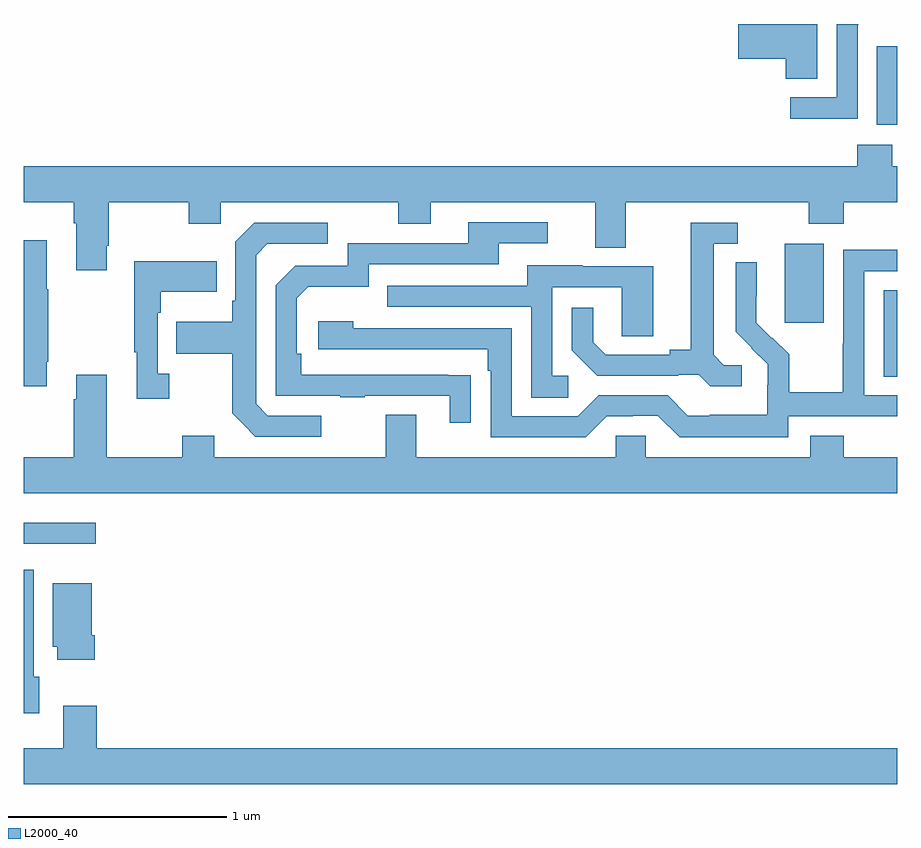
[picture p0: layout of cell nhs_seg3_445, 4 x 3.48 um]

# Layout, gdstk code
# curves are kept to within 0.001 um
import gdstk
lib = gdstk.Library(unit=1e-6, precision=1e-09)
def R(c, l, rs):  # rectangles x0, y0, x1, y1
    for r in rs: c.add(gdstk.rectangle(r[:2], r[2:], *l))
def P(c, l, *ps):  # polygons
    for p in ps: c.add(gdstk.Polygon(p, *l))
L2000_40 = (2000, 40)

nhs_seg3_445 = lib.new_cell('nhs_seg3_445')
R(nhs_seg3_445, L2000_40, [(133,698.019,133.33,698.116), (136.937,698.785,137,699.182), (136.484,699.033,136.663,699.394), (136.907,699.938,137,700.299)])
P(nhs_seg3_445, L2000_40, [(136.818,700.396),(136.821,700.396),(136.821,700.4),(136.722,700.4),(136.722,700.065),(136.509,700.065),(136.509,699.967),(136.818,699.967)],
  [(136.633,700.4),(136.272,700.4),(136.272,700.241),(136.49,700.241),(136.49,700.15),(136.633,700.15)],
  [(133.381,699.385),(133.389,699.385),(133.389,699.584),(133.756,699.584),(133.756,699.485),(133.902,699.485),(133.902,699.584),(134.716,699.584),(134.716,699.485),(134.863,699.485),(134.863,699.584),(135.617,699.584),(135.617,699.376),(135.757,699.376),(135.757,699.584),(136.594,699.584),(136.594,699.485),(136.754,699.485),(136.754,699.584),(137,699.584),(137,699.748),(136.977,699.748),(136.977,699.847),(136.817,699.847),(136.817,699.748),(133,699.748),(133,699.584),(133.229,699.584),(133.229,699.488),(133.241,699.488),(133.241,699.273),(133.381,699.273)],
  [(135.047,698.792),(134.27,698.793),(134.27,698.89),(134.25,698.89),(134.25,699.144),(134.303,699.197),(134.58,699.197),(134.58,699.3),(135.175,699.3),(135.175,699.396),(135.4,699.396),(135.4,699.492),(135.035,699.492),(135.035,699.396),(134.484,699.396),(134.484,699.294),(134.244,699.294),(134.154,699.204),(134.154,698.697),(134.449,698.697),(134.449,698.692),(134.561,698.692),(134.561,698.697),(134.951,698.697),(134.951,698.574),(135.047,698.574)],
  [(134.362,698.607),(134.118,698.607),(134.064,698.661),(134.064,699.342),(134.115,699.393),(134.392,699.393),(134.392,699.489),(134.055,699.489),(133.968,699.402),(133.968,699.133),(133.956,699.133),(133.956,699.037),(133.699,699.037),(133.699,698.89),(133.956,698.89),(133.956,698.617),(134.061,698.511),(134.362,698.511)],
  [(136.288,698.838),(136.206,698.838),(136.159,698.885),(136.159,699.393),(136.27,699.393),(136.27,699.489),(136.055,699.489),(136.055,698.909),(135.959,698.909),(135.959,698.886),(135.664,698.886),(135.607,698.943),(135.607,699.1),(135.51,699.1),(135.51,698.906),(135.626,698.79),(135.998,698.79),(135.998,698.793),(136.092,698.793),(136.144,698.741),(136.288,698.741)],
  [(133.105,698.854),(133.113,698.854),(133.113,699.185),(133.105,699.185),(133.105,699.409),(133,699.409),(133,698.742),(133.105,698.742)],
  [(136.5,698.604),(137,698.604),(137,698.7),(136.848,698.7),(136.848,699.267),(137,699.267),(137,699.366),(136.752,699.366),(136.752,698.936),(136.75,698.936),(136.75,698.713),(136.505,698.713),(136.505,698.887),(136.428,698.964),(136.425,698.961),(136.355,699.032),(136.356,699.308),(136.26,699.308),(136.26,698.99),(136.406,698.842),(136.406,698.745),(136.404,698.745),(136.404,698.611),(136.141,698.611),(136.141,698.607),(136.041,698.607),(135.948,698.7),(135.633,698.7),(135.537,698.604),(135.234,698.604),(135.234,699.006),(134.51,699.006),(134.51,699.04),(134.349,699.04),(134.349,698.91),(135.125,698.91),(135.125,698.813),(135.138,698.813),(135.138,698.508),(135.573,698.508),(135.669,698.604),(135.788,698.604),(135.788,698.607),(135.903,698.607),(136.003,698.507),(136.5,698.507)],
  [(133.666,698.798),(133.614,698.798),(133.614,699.077),(133.627,699.077),(133.627,699.173),(133.883,699.173),(133.883,699.313),(133.506,699.313),(133.506,698.897),(133.517,698.897),(133.517,698.685),(133.666,698.685)],
  [(135.493,698.79),(135.42,698.79),(135.42,699.195),(135.738,699.195),(135.738,698.971),(135.883,698.971),(135.883,699.291),(135.559,699.291),(135.559,699.295),(135.305,699.295),(135.305,699.201),(134.665,699.201),(134.665,699.105),(135.324,699.105),(135.324,698.689),(135.493,698.689)],
  [(137,698.416),(136.754,698.416),(136.754,698.515),(136.601,698.515),(136.601,698.416),(135.849,698.416),(135.849,698.514),(135.711,698.514),(135.711,698.416),(134.797,698.416),(134.797,698.611),(134.657,698.611),(134.657,698.416),(133.873,698.416),(133.873,698.515),(133.726,698.515),(133.726,698.416),(133.381,698.416),(133.381,698.794),(133.241,698.794),(133.241,698.681),(133.229,698.681),(133.229,698.416),(133,698.416),(133,698.252),(137,698.252)],
  [(133.072,697.41),(133.045,697.41),(133.045,697.9),(133,697.9),(133,697.244),(133.072,697.244)],
  [(133.325,697.6),(133.312,697.6),(133.312,697.84),(133.133,697.84),(133.133,697.548),(133.154,697.548),(133.154,697.488),(133.325,697.488)],
  [(137,697.084),(133.334,697.084),(133.334,697.279),(133.181,697.279),(133.181,697.084),(133,697.084),(133,696.92),(137,696.92)])

lib.write_gds('nhs_seg3_445.gds')
